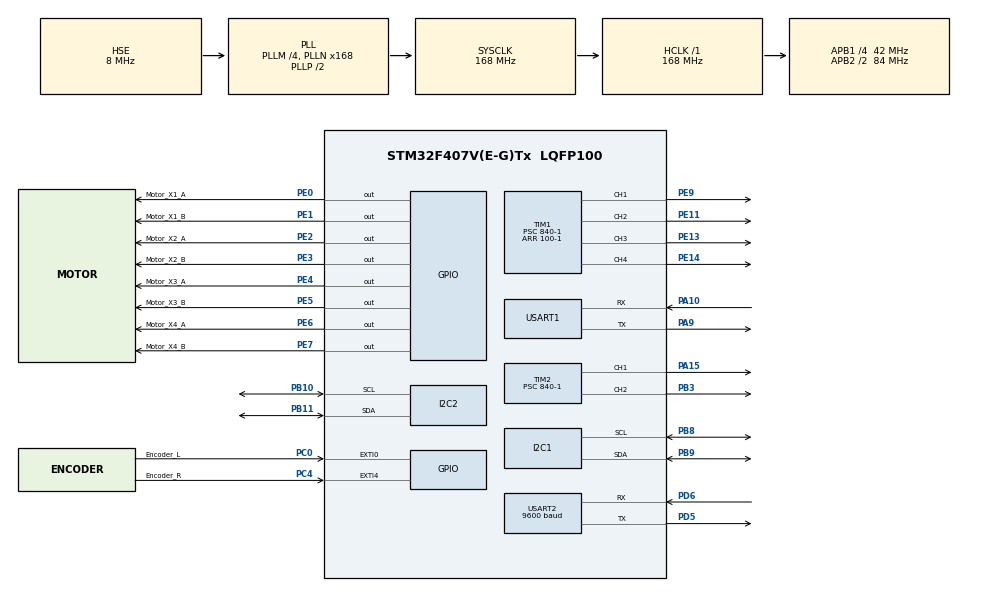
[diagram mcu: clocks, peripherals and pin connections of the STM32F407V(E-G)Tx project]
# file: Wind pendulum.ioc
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Mcu.Family=STM32F4
Mcu.Name=STM32F407V(E-G)Tx
Mcu.Package=LQFP100
NVIC.EXTI0_IRQn=true\:0\:0\:false\:false\:true\:true\:true
NVIC.EXTI4_IRQn=true\:0\:0\:false\:false\:true\:true\:true
NVIC.PriorityGroup=NVIC_PRIORITYGROUP_4
NVIC.TIM5_IRQn=true\:0\:0\:false\:false\:true\:true\:true
NVIC.USART1_IRQn=true\:0\:0\:true\:false\:true\:true\:true
NVIC.USART2_IRQn=true\:0\:0\:false\:false\:true\:true\:true
PA10.Mode=Asynchronous
PA10.Signal=USART1_RX
PA15.Signal=S_TIM2_CH1_ETR
PA9.Mode=Asynchronous
PA9.Signal=USART1_TX
PB10.Mode=I2C
PB10.Signal=I2C2_SCL
PB11.Mode=I2C
PB11.Signal=I2C2_SDA
PB3.Signal=S_TIM2_CH2
PB8.Mode=I2C
PB8.Signal=I2C1_SCL
PB9.Mode=I2C
PB9.Signal=I2C1_SDA
PC0.GPIO_Label=Encoder_L
PC0.Signal=GPXTI0
PC4.GPIO_Label=Encoder_R
PC4.Signal=GPXTI4
PD5.Mode=Asynchronous
PD5.Signal=USART2_TX
PD6.Mode=Asynchronous
PD6.Signal=USART2_RX
PE0.GPIO_Label=Motor_X1_A
PE0.GPIO_Speed=GPIO_SPEED_FREQ_LOW
PE0.Signal=GPIO_Output
PE1.GPIO_Label=Motor_X1_B
PE1.Signal=GPIO_Output
PE11.Signal=S_TIM1_CH2
PE13.Signal=S_TIM1_CH3
PE14.Signal=S_TIM1_CH4
PE2.GPIO_Label=Motor_X2_A
PE2.Signal=GPIO_Output
PE3.GPIO_Label=Motor_X2_B
PE3.Signal=GPIO_Output
PE4.GPIO_Label=Motor_X3_A
PE4.Signal=GPIO_Output
PE5.GPIO_Label=Motor_X3_B
PE5.Signal=GPIO_Output
PE6.GPIO_Label=Motor_X4_A
PE6.Signal=GPIO_Output
PE7.GPIO_Label=Motor_X4_B
PE7.Signal=GPIO_Output
PE9.Signal=S_TIM1_CH1
PH0-OSC_IN.Mode=HSE-External-Oscillator
PH0-OSC_IN.Signal=RCC_OSC_IN
PH1-OSC_OUT.Mode=HSE-External-Oscillator
PH1-OSC_OUT.Signal=RCC_OSC_OUT
ProjectManager.HeapSize=0x600
ProjectManager.StackSize=0x2000
ProjectManager.TargetToolchain=MDK-ARM V5.27
RCC.48MHZClocksFreq_Value=48000000
RCC.AHBFreq_Value=168000000
RCC.APB1CLKDivider=RCC_HCLK_DIV4
RCC.APB1Freq_Value=42000000
RCC.APB1TimFreq_Value=84000000
RCC.APB2CLKDivider=RCC_HCLK_DIV2
RCC.APB2Freq_Value=84000000
RCC.APB2TimFreq_Value=168000000
RCC.CortexFreq_Value=168000000
RCC.HCLKFreq_Value=168000000
RCC.HSE_VALUE=8000000
RCC.HSI_VALUE=16000000
RCC.LSE_VALUE=32768
RCC.PLLM=4
RCC.PLLN=168
RCC.PLLQ=7
RCC.PLLSourceVirtual=RCC_PLLSOURCE_HSE
RCC.SYSCLKFreq_VALUE=168000000
RCC.SYSCLKSource=RCC_SYSCLKSOURCE_PLLCLK
RCC.VCOOutputFreq_Value=336000000
SH.S_TIM1_CH1.0=TIM1_CH1,PWM Generation1 CH1
SH.S_TIM1_CH2.0=TIM1_CH2,PWM Generation2 CH2
SH.S_TIM1_CH3.0=TIM1_CH3,PWM Generation3 CH3
SH.S_TIM1_CH4.0=TIM1_CH4,PWM Generation4 CH4
SH.S_TIM2_CH1_ETR.0=TIM2_CH1,PWM Generation1 CH1
SH.S_TIM2_CH2.0=TIM2_CH2,PWM Generation2 CH2
TIM1.AutoReloadPreload=TIM_AUTORELOAD_PRELOAD_ENABLE
TIM1.Channel-PWM\ Generation1\ CH1=TIM_CHANNEL_1
TIM1.Channel-PWM\ Generation2\ CH2=TIM_CHANNEL_2
TIM1.Channel-PWM\ Generation3\ CH3=TIM_CHANNEL_3
TIM1.Channel-PWM\ Generation4\ CH4=TIM_CHANNEL_4
TIM1.Period=100-1
TIM1.Prescaler=840-1
TIM2.AutoReloadPreload=TIM_AUTORELOAD_PRELOAD_ENABLE
TIM2.Channel-PWM\ Generation1\ CH1=TIM_CHANNEL_1
TIM2.Channel-PWM\ Generation2\ CH2=TIM_CHANNEL_2
TIM2.Period=2000-1
TIM2.Prescaler=840-1
TIM5.AutoReloadPreload=TIM_AUTORELOAD_PRELOAD_ENABLE
TIM5.Period=2000
TIM5.Prescaler=840-1
USART1.VirtualMode=VM_ASYNC
USART2.BaudRate=9600
USART2.VirtualMode=VM_ASYNC
VP_TIM1_VS_ClockSourceINT.Mode=Internal
VP_TIM2_VS_ClockSourceINT.Mode=Internal
VP_TIM5_VS_ClockSourceINT.Mode=Internal
board=custom

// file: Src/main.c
/* USER CODE BEGIN Header */
/**
  ******************************************************************************
  * @file           : main.c
  * @brief          : Main program body
  ******************************************************************************
  * @attention
  *
  * <h2><center>&copy; Copyright (c) 2020 STMicroelectronics.
  * All rights reserved.</center></h2>
  *
  * This software component is licensed by ST under BSD 3-Clause license,
  * the "License"; You may not use this file except in compliance with the
  * License. You may obtain a copy of the License at:
  *                        opensource.org/licenses/BSD-3-Clause
  *
  ******************************************************************************
  */
/* USER CODE END Header */
#include "main.h"
#include "i2c.h"
#include "tim.h"
#include "usart.h"
#include "gpio.h"

/* USER CODE BEGIN Includes */
#include "stdio.h"
#include "motor.h"
#include "uart_handler.h"
#include "control.h"
/* USER CODE END Includes */

/* USER CODE BEGIN PD */
uint8_t len;
uint16_t times=0;
float ObjectTemperature;
float AmbientTemperature;
int speed_set = 20,recive_flag = 0,scan_flag = 0,servo_flag = 0;
char deviationx_rec[5],deviationy_rec[5];
uint8_t	UART1RxBuffer[1],UART2RxBuffer[1];
char Uart_get[20];
float deviationx,deviationy;
uint16_t scanresult;
uint16_t Distance;
float BP_in[2],BP_out[1];
uint16_t Encoder_L,Encoder_R;
float encoder_value_l,encoder_value_r;
int x_pos,y_pos;
unsigned char ucRxData[100];
unsigned char ucRxFinish=0;
static unsigned char ucCnt=0;
float Pitch,Roll,Yaw;
/* USER CODE END PD */

/* USER CODE BEGIN PV */
int fputc(int ch, FILE *f)
{
	uint8_t temp[1] = {ch};
	HAL_UART_Transmit(&huart1,temp,1,50);
	return ch;
}
 int fgetc(FILE *f)
{
  uint8_t  ch;
	HAL_UART_Receive(&huart1,(uint8_t *)&ch, 1, 0xFFFF);
	return  ch;
}

/* USER CODE END PV */

void SystemClock_Config(void);

int main(void)
{

  /* MCU Configuration--------------------------------------------------------*/

  /* Reset of all peripherals, Initializes the Flash interface and the Systick. */
  HAL_Init();

  /* Configure the system clock */
  SystemClock_Config();

  /* Initialize all configured peripherals */
  MX_GPIO_Init();
  MX_TIM1_Init();
  MX_USART1_UART_Init();
  MX_I2C1_Init();
  MX_TIM2_Init();
  MX_I2C2_Init();
  MX_TIM5_Init();
  MX_USART2_UART_Init();
  /* USER CODE BEGIN 2 */
	Motor_init();
	HAL_UART_Receive_IT(&huart1,UART1RxBuffer,1);
	HAL_UART_Receive_IT(&huart2,UART2RxBuffer,1);
	HAL_TIM_Base_Start_IT(&htim5);	//开启定时器5，定时0.1s，均值滤波
  /* USER CODE END 2 */

  /* Infinite loop */
  while (1)
  {

  }
}

void SystemClock_Config(void)
{
  RCC_OscInitTypeDef RCC_OscInitStruct = {0};
  RCC_ClkInitTypeDef RCC_ClkInitStruct = {0};

  /** Configure the main internal regulator output voltage
  */
  __HAL_RCC_PWR_CLK_ENABLE();
  __HAL_PWR_VOLTAGESCALING_CONFIG(PWR_REGULATOR_VOLTAGE_SCALE1);
  /** Initializes the RCC Oscillators according to the specified parameters
  * in the RCC_OscInitTypeDef structure.
  */
  RCC_OscInitStruct.OscillatorType = RCC_OSCILLATORTYPE_HSE;
  RCC_OscInitStruct.HSEState = RCC_HSE_ON;
  RCC_OscInitStruct.PLL.PLLState = RCC_PLL_ON;
  RCC_OscInitStruct.PLL.PLLSource = RCC_PLLSOURCE_HSE;
  RCC_OscInitStruct.PLL.PLLM = 4;
  RCC_OscInitStruct.PLL.PLLN = 168;
  RCC_OscInitStruct.PLL.PLLP = RCC_PLLP_DIV2;
  RCC_OscInitStruct.PLL.PLLQ = 7;
  if (HAL_RCC_OscConfig(&RCC_OscInitStruct) != HAL_OK)
  {
    Error_Handler();
  }
  /** Initializes the CPU, AHB and APB buses clocks
  */
  RCC_ClkInitStruct.ClockType = RCC_CLOCKTYPE_HCLK|RCC_CLOCKTYPE_SYSCLK
                              |RCC_CLOCKTYPE_PCLK1|RCC_CLOCKTYPE_PCLK2;
  RCC_ClkInitStruct.SYSCLKSource = RCC_SYSCLKSOURCE_PLLCLK;
  RCC_ClkInitStruct.AHBCLKDivider = RCC_SYSCLK_DIV1;
  RCC_ClkInitStruct.APB1CLKDivider = RCC_HCLK_DIV4;
  RCC_ClkInitStruct.APB2CLKDivider = RCC_HCLK_DIV2;

  if (HAL_RCC_ClockConfig(&RCC_ClkInitStruct, FLASH_LATENCY_5) != HAL_OK)
  {
    Error_Handler();
  }
}

/* USER CODE BEGIN 4 */
void HAL_UART_RxCpltCallback(UART_HandleTypeDef *huart)
{
	unsigned char temp=0;
	extern unsigned char UART1RxBuffer[1];
	if(huart->Instance == USART2)			//串口2接收中断处理
	{
		angle_rec(UART2RxBuffer[0]);
	}
	HAL_UART_Receive_IT(&huart1,UART1RxBuffer,1);
	HAL_UART_Receive_IT(&huart2,UART2RxBuffer,1);
}

void HAL_GPIO_EXTI_Callback(uint16_t GPIO_Pin)//外部中断，每检测到一次输入信号的上升沿，计数值frequency自增
{
	if(GPIO_Pin == Encoder_L_Pin)
	{
		Encoder_L++;
	}
	if(GPIO_Pin == Encoder_R_Pin)
	{
		Encoder_R++;
	}
}

void HAL_TIM_PeriodElapsedCallback(TIM_HandleTypeDef *htim) //均值滤波算法，算脉冲更精准
{
	if(htim-> Instance == htim5.Instance)
	{
		Control_Loop1();
	}
}
/* USER CODE END 4 */

void Error_Handler(void)
{
}

/************************ (C) COPYRIGHT STMicroelectronics *****END OF FILE****/
